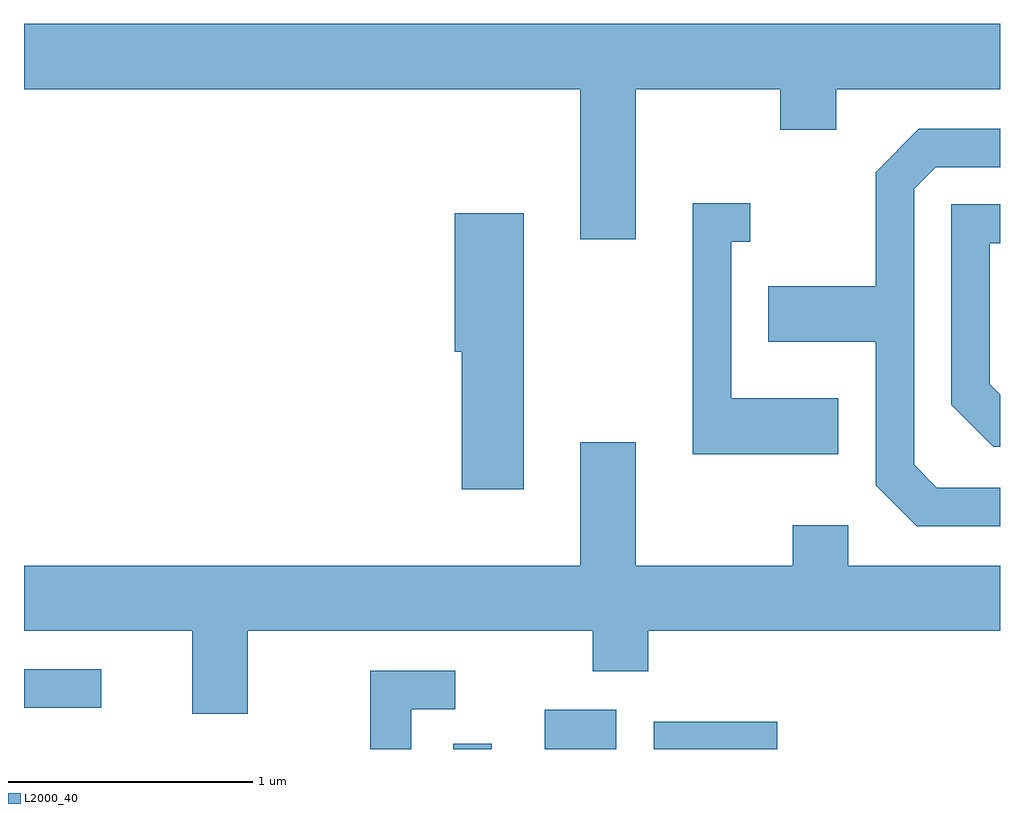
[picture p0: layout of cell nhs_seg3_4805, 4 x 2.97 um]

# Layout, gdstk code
import gdstk
lib = gdstk.Library(unit=1e-6, precision=1e-09)
def R(c, l, rs):  # rectangles x0, y0, x1, y1
    for r in rs: c.add(gdstk.rectangle(r[:2], r[2:], *l))
def P(c, l, *ps):  # polygons
    for p in ps: c.add(gdstk.Polygon(p, *l))
L2000_40 = (2000, 40)

nhs_seg3_4805 = lib.new_cell('nhs_seg3_4805')
R(nhs_seg3_4805, L2000_40, [(327.371,1209.892,327.529,1209.913), (327.746,1209.892,328.039,1210.054), (328.191,1209.892,328.698,1210.004), (325.611,1210.061,325.928,1210.219)])
P(nhs_seg3_4805, L2000_40, [(328.119,1212.596),(328.711,1212.596),(328.711,1212.431),(328.939,1212.431),(328.939,1212.596),(329.611,1212.596),(329.611,1212.864),(325.611,1212.864),(325.611,1212.596),(327.891,1212.596),(327.891,1211.981),(328.119,1211.981)],
  [(329.611,1210.964),(329.352,1210.964),(329.259,1211.057),(329.259,1212.189),(329.347,1212.276),(329.611,1212.276),(329.611,1212.434),(329.279,1212.434),(329.101,1212.257),(329.101,1211.789),(328.661,1211.789),(328.661,1211.561),(329.101,1211.561),(329.101,1210.974),(329.269,1210.806),(329.611,1210.806)],
  [(328.949,1211.329),(328.509,1211.329),(328.509,1211.971),(328.588,1211.971),(328.588,1212.129),(328.351,1212.129),(328.351,1211.101),(328.949,1211.101)],
  [(329.611,1211.345),(329.569,1211.387),(329.569,1211.966),(329.611,1211.966),(329.611,1212.124),(329.411,1212.124),(329.411,1211.304),(329.584,1211.131),(329.611,1211.131)],
  [(327.659,1212.089),(327.376,1212.089),(327.376,1211.521),(327.406,1211.521),(327.406,1210.956),(327.659,1210.956)],
  [(327.941,1210.211),(328.169,1210.211),(328.169,1210.376),(329.611,1210.376),(329.611,1210.644),(328.989,1210.644),(328.989,1210.809),(328.761,1210.809),(328.761,1210.644),(328.119,1210.644),(328.119,1211.149),(327.891,1211.149),(327.891,1210.644),(325.611,1210.644),(325.611,1210.376),(326.301,1210.376),(326.301,1210.036),(326.529,1210.036),(326.529,1210.376),(327.941,1210.376)],
  [(327.199,1210.056),(327.378,1210.056),(327.378,1210.214),(327.031,1210.214),(327.031,1209.892),(327.199,1209.892)])

lib.write_gds('nhs_seg3_4805.gds')
